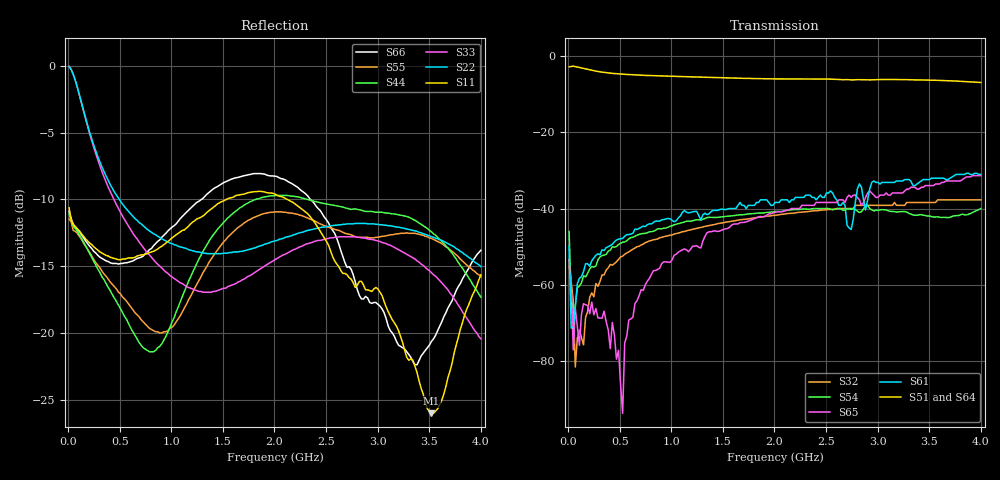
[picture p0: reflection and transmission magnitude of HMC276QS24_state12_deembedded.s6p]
! Hittite Microwave Corporation
! 20 Alpha Road
! Chelmsford, MA 01824
! Tel: 978-250-3343
! Fax: 978-250-3373
! Device: HMC276QS24, 0.7-3.0 GHz, GaAS MMIC 4x2 Switch Matrix in 24-lead QSOP package
! Misc: Data was de-embedded to package pins.
!  Port 1 = OP1
!  Port 2 = VL
!  Port 3 = VH
!  Port 4 = HH
!  Port 5 = HL
!  Port 6 = OP2
!  Vdd = +5 V
!  Vctl = 0 V[Logic 0] / +5 V[Logic 1]
!  State 12,  HL to OP1,  HH to OP2
!  Control Lines (Logic)
!  HV 1 = 1, Tone 1 = 0
!  HV 2 = 1, Tone 2 = 1
!  Data reformated to new Touchstone file format - Wed Jan 10 15:55:32 2007
# MHz S DB R 50
! 6 Port Network Data
! freq  dbS11  angS11  dbS12  angS12  dbS13  angS13  dbS14  angS14
!  dbS15  angS15  dbS16  angS16
!  dbS21  angS21  dbS22  angS22
!  dbS23  angS23  dbS24  angS24  dbS25  angS25  dbS26  angS26
!  dbS31  angS31  dbS32  angS32  dbS33  angS33  dbS34  angS34
!  dbS35  angS35  dbS36  angS36
!  dbS41  angS41  dbS42  angS42
!  dbS43  angS43  dbS44  angS44  dbS45  angS45  dbS46  angS46
!  dbS51  angS51  dbS52  angS52  dbS53  angS53  dbS54  angS54
!  dbS55  angS55  dbS56  angS56
!  dbS61  angS61  dbS62  angS62
!  dbS63  angS63  dbS64  angS64  dbS65  angS65  dbS66  angS66
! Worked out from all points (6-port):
!   201 points, 10 MHz to 4 GHz, reference 50 ohm
!   strongest paths, dB at 10 MHz, 1.008 GHz, 2.005 GHz, 3.002 GHz, 4 GHz:
!     S51: -2.8, -5.3, -6.0, -6.1, -6.9
!     S64: -2.8, -5.4, -6.2, -6.3, -7.0
!     S61: -49.9, -43.1, -38.4, -33.2, -31.1
!     S65: -53.4, -53.5, -41.0, -37.1, -31.4
!     S54: -46.0, -44.5, -40.8, -40.5, -40.0
!     S32: -55.1, -46.9, -41.8, -39.2, -37.7
!   lowest |S11| = -26.0 dB at 3.521 GHz (marker M1), VSWR 1.11, Z = 50.9 + j4.97 ohm
!   |S11| at or under -10 dB: start of sweep to 1.534 GHz; 2.123 GHz to end of sweep
